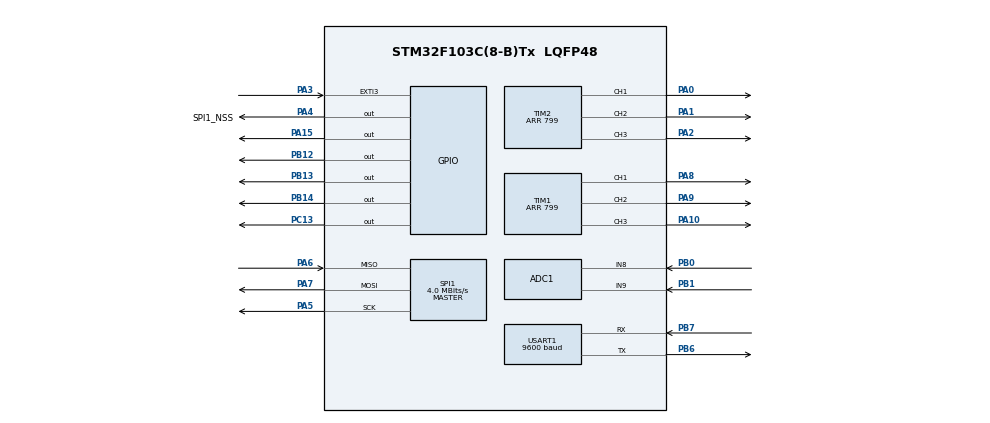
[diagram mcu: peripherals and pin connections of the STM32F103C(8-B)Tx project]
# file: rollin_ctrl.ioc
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ADC1.Channel-0\#ChannelRegularConversion=ADC_CHANNEL_8
ADC1.NbrOfConversionFlag=1
ADC1.Rank-0\#ChannelRegularConversion=1
ADC1.SamplingTime-0\#ChannelRegularConversion=ADC_SAMPLETIME_1CYCLE_5
ADC1.master=1
Mcu.Family=STM32F1
Mcu.Name=STM32F103C(8-B)Tx
Mcu.Package=LQFP48
NVIC.PriorityGroup=NVIC_PRIORITYGROUP_4
NVIC.SPI1_IRQn=true\:0\:0\:false\:false\:true\:true\:true\:true
NVIC.TIM3_IRQn=true\:0\:0\:false\:false\:true\:true\:true\:true
NVIC.USART1_IRQn=true\:0\:0\:false\:false\:true\:true\:true\:true
PA0-WKUP.Signal=S_TIM2_CH1_ETR
PA1.Signal=S_TIM2_CH2
PA10.Signal=S_TIM1_CH3
PA13.Mode=Serial_Wire
PA13.Signal=SYS_JTMS-SWDIO
PA14.Mode=Serial_Wire
PA14.Signal=SYS_JTCK-SWCLK
PA15.Signal=GPIO_Output
PA2.Signal=S_TIM2_CH3
PA3.Signal=GPXTI3
PA4.GPIO_Label=SPI1_NSS
PA4.Signal=GPIO_Output
PA5.Mode=Full_Duplex_Master
PA5.Signal=SPI1_SCK
PA6.Mode=Full_Duplex_Master
PA6.Signal=SPI1_MISO
PA7.Mode=Full_Duplex_Master
PA7.Signal=SPI1_MOSI
PA8.Signal=S_TIM1_CH1
PA9.Signal=S_TIM1_CH2
PB0.Signal=ADCx_IN8
PB1.Signal=ADCx_IN9
PB12.Signal=GPIO_Output
PB13.Signal=GPIO_Output
PB14.Signal=GPIO_Output
PB6.Mode=Asynchronous
PB6.Signal=USART1_TX
PB7.Mode=Asynchronous
PB7.Signal=USART1_RX
PC13-TAMPER-RTC.Signal=GPIO_Output
ProjectManager.HeapSize=0x200
ProjectManager.StackSize=0x400
ProjectManager.TargetToolchain=STM32CubeIDE
RCC.APB1Freq_Value=8000000
RCC.APB2Freq_Value=8000000
SH.ADCx_IN8.0=ADC1_IN8,IN8
SH.ADCx_IN9.0=ADC1_IN9,IN9
SH.S_TIM1_CH1.0=TIM1_CH1,PWM Generation1 CH1
SH.S_TIM1_CH2.0=TIM1_CH2,PWM Generation2 CH2
SH.S_TIM1_CH3.0=TIM1_CH3,PWM Generation3 CH3
SH.S_TIM2_CH1_ETR.0=TIM2_CH1,PWM Generation1 CH1
SH.S_TIM2_CH2.0=TIM2_CH2,PWM Generation2 CH2
SH.S_TIM2_CH3.0=TIM2_CH3,PWM Generation3 CH3
SPI1.CalculateBaudRate=4.0 MBits/s
SPI1.Direction=SPI_DIRECTION_2LINES
SPI1.Mode=SPI_MODE_MASTER
SPI1.VirtualType=VM_MASTER
TIM1.Channel-PWM\ Generation1\ CH1=TIM_CHANNEL_1
TIM1.Channel-PWM\ Generation2\ CH2=TIM_CHANNEL_2
TIM1.Channel-PWM\ Generation3\ CH3=TIM_CHANNEL_3
TIM1.ClockDivision=TIM_CLOCKDIVISION_DIV1
TIM1.OCFastMode_PWM-PWM\ Generation1\ CH1=TIM_OCFAST_DISABLE
TIM1.OCFastMode_PWM-PWM\ Generation2\ CH2=TIM_OCFAST_ENABLE
TIM1.OCFastMode_PWM-PWM\ Generation3\ CH3=TIM_OCFAST_ENABLE
TIM1.OCMode_PWM-PWM\ Generation1\ CH1=TIM_OCMODE_PWM1
TIM1.Period=799
TIM2.Channel-PWM\ Generation1\ CH1=TIM_CHANNEL_1
TIM2.Channel-PWM\ Generation2\ CH2=TIM_CHANNEL_2
TIM2.Channel-PWM\ Generation3\ CH3=TIM_CHANNEL_3
TIM2.OCFastMode_PWM-PWM\ Generation1\ CH1=TIM_OCFAST_ENABLE
TIM2.OCFastMode_PWM-PWM\ Generation2\ CH2=TIM_OCFAST_ENABLE
TIM2.OCFastMode_PWM-PWM\ Generation3\ CH3=TIM_OCFAST_ENABLE
TIM2.Period=799
TIM3.Channel-Output\ Compare1\ No\ Output=TIM_CHANNEL_1
TIM3.Channel-Output\ Compare4\ No\ Output=TIM_CHANNEL_4
TIM3.Period=65535
TIM3.Prescaler=50
USART1.BaudRate=9600
USART1.VirtualMode=VM_ASYNC
VP_TIM1_VS_ClockSourceINT.Mode=Internal
VP_TIM2_VS_ClockSourceINT.Mode=Internal
VP_TIM3_VS_ClockSourceINT.Mode=Internal
VP_TIM3_VS_no_output1.Mode=Output Compare1 No Output
VP_TIM3_VS_no_output4.Mode=Output Compare4 No Output
board=custom

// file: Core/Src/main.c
/* USER CODE BEGIN Header */
/**
******************************************************************************
* @file           : main.c
* @brief          : Main program body
******************************************************************************
* @attention
*
* Copyright (c) 2024 STMicroelectronics.
* All rights reserved.
*
* This software is licensed under terms that can be found in the LICENSE file
* in the root directory of this software component.
* If no LICENSE file comes with this software, it is provided AS-IS.
*
******************************************************************************
*/
/* USER CODE END Header */
#include "main.h"
#include "adc.h"
#include "spi.h"
#include "tim.h"
#include "usart.h"
#include "gpio.h"

/* USER CODE BEGIN Includes */
#include "mpu9250.h"
#include "uart.h"
#include "str_buf.h"
#include "foc.h"

/* USER CODE END Includes */

void SystemClock_Config(void);

/* USER CODE BEGIN 0 */
volatile uint32_t global_event = 0;

#define MPU_STR_SIZE (128)
static char mpu_str[MPU_STR_SIZE];

void _wait_some_time(void) {
	for(uint32_t cnt = 50000; cnt; cnt--) {
		asm("NOP");
	}
}

static float acc_xy_angle_deg;
static float gyr_z_angle_deg_rate, gyr_z_angle_deg;
static float angle_deg, angle_deg_prev = 0;

float get_angle_deg(void) {
	return angle_deg;
}

void read_mpu9250_values(void) {
	mpu9250_read_sensor_values();
	acc_xy_angle_deg = mpu9250_get_acc_xy_angle_deg();
	acc_xy_angle_deg -= 90.0f;
	gyr_z_angle_deg_rate = mpu9250_get_gyr_z_angle_rate_deg_pro_s();
	gyr_z_angle_deg = gyr_z_angle_deg_rate * 0.01201;//0.01192; //meas_time in s

	// complementary filter for angle from accelerometer and gyroscope
	angle_deg = 0.80f * (angle_deg_prev + gyr_z_angle_deg) + 0.20f * acc_xy_angle_deg;
	angle_deg_prev = angle_deg;
}

static void read_mpu9250_string(void) {
	read_mpu9250_values();

	// using Tauno, send as string using "," as separator: value1,value2,value3
	str_buf_clear(mpu_str, MPU_STR_SIZE);
	str_buf_append_float(mpu_str, MPU_STR_SIZE, acc_xy_angle_deg, 3);
	str_buf_append_string(mpu_str, MPU_STR_SIZE, ",");
	str_buf_append_float(mpu_str, MPU_STR_SIZE, gyr_z_angle_deg, 3);
	str_buf_append_string(mpu_str, MPU_STR_SIZE, ",");
	str_buf_append_float(mpu_str, MPU_STR_SIZE, angle_deg, 3);
	str_buf_append_string(mpu_str, MPU_STR_SIZE, "\n");
	uart_send_string(mpu_str);
	/*
	// using https://github.com/qwertpas/SerpentSerialTool
	str_buf_clear(mpu_str, MPU_STR_SIZE);
	str_buf_append_string(mpu_str, MPU_STR_SIZE, "acc_xy_deg: ");
	str_buf_append_float(mpu_str, MPU_STR_SIZE, acc_xy_angle_deg, 3);
	str_buf_append_string(mpu_str, MPU_STR_SIZE, "\n");
	uart_send_string(mpu_str);

	str_buf_clear(mpu_str, MPU_STR_SIZE);
	str_buf_append_string(mpu_str, MPU_STR_SIZE, "gyr_z_deg: ");
	str_buf_append_float(mpu_str, MPU_STR_SIZE, gyr_z_angle_deg, 3);
	str_buf_append_string(mpu_str, MPU_STR_SIZE, "\n");
	uart_send_string(mpu_str);

	str_buf_clear(mpu_str, MPU_STR_SIZE);
	str_buf_append_string(mpu_str, MPU_STR_SIZE, "angle_deg: ");
	str_buf_append_float(mpu_str, MPU_STR_SIZE, angle_deg, 3);
	str_buf_append_string(mpu_str, MPU_STR_SIZE, "\n\t");
	uart_send_string(mpu_str);
	*/
}

uint16_t get_program_id_string(char *str, uint16_t str_size) {
	str_buf_clear(mpu_str, MPU_STR_SIZE);
	str_buf_append_string(mpu_str, MPU_STR_SIZE, "program id: ");
	str_buf_append_string(mpu_str, MPU_STR_SIZE, PROGRAM_NAME);
	str_buf_append_string(mpu_str, MPU_STR_SIZE, ", compiled: ");
	str_buf_append_string(mpu_str, MPU_STR_SIZE, __DATE__);
	str_buf_append_string(mpu_str, MPU_STR_SIZE, ", ");
	str_buf_append_string(mpu_str, MPU_STR_SIZE, __TIME__);
}

/* USER CODE END 0 */

int main(void)
{

  /* USER CODE BEGIN 1 */
	uint32_t primask;
	volatile uint16_t adc_value;
	volatile int32_t speed;
	uint32_t local_event;
	uint16_t local_cnt;
  /* USER CODE END 1 */

  /* MCU Configuration--------------------------------------------------------*/

  /* Reset of all peripherals, Initializes the Flash interface and the Systick. */
  HAL_Init();

  /* Configure the system clock */
  SystemClock_Config();

  /* Initialize all configured peripherals */
  MX_GPIO_Init();
  MX_TIM2_Init();
  MX_USART1_UART_Init();
  MX_ADC1_Init();
  MX_SPI1_Init();
  MX_TIM1_Init();
  MX_TIM3_Init();
  /* USER CODE BEGIN 2 */
	uart_init();
	mpu9250_init();

	foc_init();
	foc_start();
	foc_set_speed(FOC_MOTOR1, 1000);
	LL_GPIO_SetOutputPin(GPIOB, LL_GPIO_PIN_12|LL_GPIO_PIN_13);

	get_program_id_string(mpu_str, MPU_STR_SIZE);
	uart_send_string(mpu_str);
	_wait_some_time();

	str_buf_clear(mpu_str, MPU_STR_SIZE);
	str_buf_append_string(mpu_str, MPU_STR_SIZE, "\nusing Tauno-serial-plotter\n");
	uart_send_string(mpu_str);
	_wait_some_time();

	local_event = 0;
	local_cnt = 0;
	while(1) {
		/*if(local_event & 1) {
			// FOC
			local_cnt++;
			str_buf_clear(mpu_str, MPU_STR_SIZE);
			//str_buf_append_uint16(mpu_str, MPU_STR_SIZE, local_cnt);
			//str_buf_append_string(mpu_str, MPU_STR_SIZE, ",");
			//str_buf_append_uint16(mpu_str, MPU_STR_SIZE, motors[FOC_MOTOR1].x);
			//str_buf_append_string(mpu_str, MPU_STR_SIZE, ",");
			str_buf_append_uint16(mpu_str, MPU_STR_SIZE, sin_lut[motors[FOC_MOTOR1].sin.u]);
			str_buf_append_string(mpu_str, MPU_STR_SIZE, ",");
			str_buf_append_uint16(mpu_str, MPU_STR_SIZE, sin_lut[motors[FOC_MOTOR1].sin.v]);
			str_buf_append_string(mpu_str, MPU_STR_SIZE, ",");
			str_buf_append_uint16(mpu_str, MPU_STR_SIZE, sin_lut[motors[FOC_MOTOR1].sin.w]);
			str_buf_append_string(mpu_str, MPU_STR_SIZE, "\n");
			uart_send_string(mpu_str);
		}*/
		if(local_event & 0x0002) {
			HAL_ADC_Start(&hadc1);
			HAL_ADC_PollForConversion(&hadc1, HAL_MAX_DELAY);
			adc_value = HAL_ADC_GetValue(&hadc1);

			if(adc_value > 2148) {
				speed = (int16_t)(((adc_value - 1948) * 1000)/1948 + 0);
			}
			else if(adc_value < 1948) {
				speed = (int16_t)((adc_value * 1000)/1948 -1000);
			}
			else {
				speed = 0;
			}
			foc_set_speed(FOC_MOTOR1, speed);
		}
		// wait for global events
		while(1) {
			// sync global events
			primask = __get_PRIMASK();  // Save current interrupt state
			__disable_irq();            // Disable all interrupts

			local_event = global_event;
			global_event = 0;

			__set_PRIMASK(primask);     // Restore previous interrupt state

			if(local_event) {
				// process event
				break;
			}

			// else go to sleep
			LL_LPM_EnableSleep();  // This clears SLEEPDEEP

			// Enter sleep mode (Wait For Interrupt)
			__WFI();  // or __WFE();

		}
	}

  /* USER CODE END 2 */

  /* Infinite loop */
  /* USER CODE BEGIN WHILE */
	while (1)
	{
		//read_mpu9250_string();
		//LL_ADC_REG_StartConversionSWStart(ADC1);
		_wait_some_time();
		//adc_value = adc1_read();
		//adc_value = LL_ADC_REG_ReadConversionData12(ADC1);

/*
		str_buf_clear(mpu_str, MPU_STR_SIZE);
		str_buf_append_uint16(mpu_str, MPU_STR_SIZE, adc_value);
		str_buf_append_string(mpu_str, MPU_STR_SIZE, "\n");
		uart_send_string(mpu_str);*/

    /* USER CODE END WHILE */

	}
}

void SystemClock_Config(void)
{
  LL_FLASH_SetLatency(LL_FLASH_LATENCY_0);
  while(LL_FLASH_GetLatency()!= LL_FLASH_LATENCY_0)
  {
  }
  LL_RCC_HSI_SetCalibTrimming(16);
  LL_RCC_HSI_Enable();

   /* Wait till HSI is ready */
  while(LL_RCC_HSI_IsReady() != 1)
  {

  }
  LL_RCC_SetAHBPrescaler(LL_RCC_SYSCLK_DIV_1);
  LL_RCC_SetAPB1Prescaler(LL_RCC_APB1_DIV_1);
  LL_RCC_SetAPB2Prescaler(LL_RCC_APB2_DIV_1);
  LL_RCC_SetSysClkSource(LL_RCC_SYS_CLKSOURCE_HSI);

   /* Wait till System clock is ready */
  while(LL_RCC_GetSysClkSource() != LL_RCC_SYS_CLKSOURCE_STATUS_HSI)
  {

  }
  LL_SetSystemCoreClock(8000000);

   /* Update the time base */
  if (HAL_InitTick (TICK_INT_PRIORITY) != HAL_OK)
  {
    Error_Handler();
  }
  LL_RCC_SetADCClockSource(LL_RCC_ADC_CLKSRC_PCLK2_DIV_2);
}

void Error_Handler(void)
{
	__disable_irq();
	while (1)
	{
	}
}
